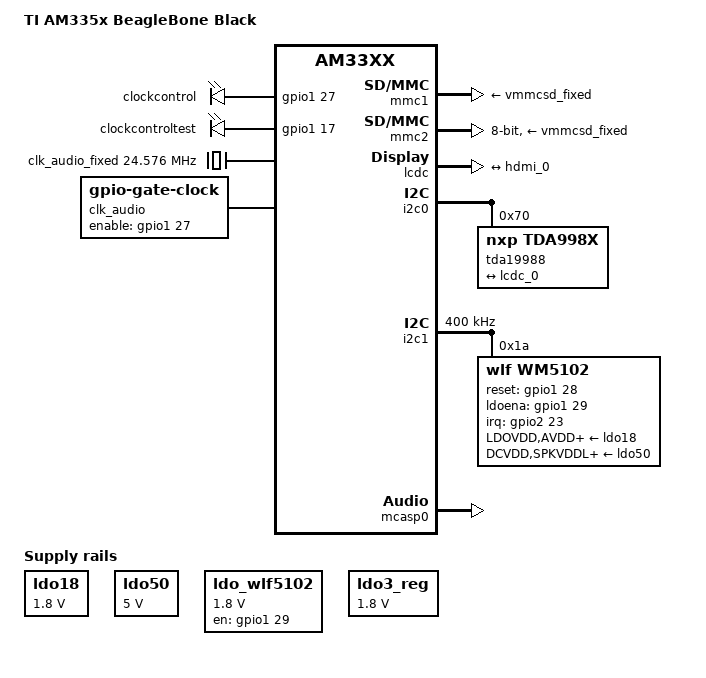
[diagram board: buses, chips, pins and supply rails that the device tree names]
/*
 * Copyright (C) 2012 Texas Instruments Incorporated - http://www.ti.com/
 *
 * This program is free software; you can redistribute it and/or modify
 * it under the terms of the GNU General Public License version 2 as
 * published by the Free Software Foundation.
 */
/dts-v1/;

#include "am33xx.dtsi"
#include "am335x-bone-common.dtsi"
#include "dt-bindings/mfd/arizona.h"

/ {
	model = "TI AM335x BeagleBone Black";
	compatible = "ti,am335x-bone-black", "ti,am335x-bone", "ti,am33xx";


leds {
pinctrl-names = "default";
pinctrl-0 = <&artfusion_gpio_pins_default>;
compatible = "gpio-leds";

led@1 {
        label = "clockcontrol";
  gpios = <&gpio1 27 GPIO_ACTIVE_HIGH>;
    default-state = "on";
      };


led@2 {
  label = "clockcontroltest";
  gpios = <&gpio1 17 GPIO_ACTIVE_HIGH>;
    default-state = "on";
      };
};


ldo18: ldo18 {
      compatible = "regulator-fixed";
      regulator-name = "DC_1V8";
      regulator-min-microvolt = <1800000>;
      regulator-max-microvolt = <1800000>;
      enable-active-high;
      regulator-always-on;
        };

ldo50: ldo50 { /* BBB VCC_5V */
      compatible = "regulator-fixed";
      regulator-name = "DC_5V0";
      regulator-min-microvolt = <5000000>;
      regulator-max-microvolt = <5000000>;
      enable-active-high;
      regulator-always-on;
        };


ldo_wlf5102: ldo_wlf5102 {
	compatible = "regulator-gpio";
	regulator-name = "LDO_WLF5102";
	regulator-min-microvolt = <1800000>;
	regulator-max-microvolt = <1800000>;
	enable-active-high;
	regulator-always-on;
	enable-gpio = <&gpio1 29 GPIO_ACTIVE_HIGH>;
        /*wlf,ldoena = <&gpio1 29 GPIO_ACTIVE_HIGH>; /* allow LDOENA wm5102 by driver */
};


clk_audio_fixed: clk_audio_fixed {
      #clock-cells = <0>;
      compatible = "fixed-clock";
      clock-frequency = <24576000>;
};


clk_audio: clk_audio {
      #clock-cells = <0>;
      compatible = "gpio-gate-clock";
      clocks = <&clk_audio_fixed>;
      enable-gpios = <&gpio1 27 0>; /* BeagleBone Black Clk enable on GPIO1_27 */
};


sound {
    status = "okay";
    compatible = "simple-audio-card";
    simple-audio-card,name = "WM5102";
    simple-audio-card,widgets =
        "Line", "Line In";
    simple-audio-card,routing =
				 "IN1L", "Line In",
				 "IN1R", "Line In",
				 "IN2L", "Line In",
				 "IN2R", "Line In",
				 "IN3L", "Line In",
				 "IN3R", "Line In";
    simple-audio-card,dai-link {
	format = "dsp_b";
	bitclock-master = <&sound_master>;
	frame-master = <&sound_master>;
	cpu {
		sound-dai = <&mcasp0>;
		/*
		dai-tdm-slot-num = <6>;
		dai-tdm-slot-width = <32>;
		*/
	};
	sound_master: codec {
		sound-dai = <&wm5102>;
		clocks = <&clk_audio>;
		/*
		dai-tdm-slot-num = <6>;
		dai-tdm-slot-width = <32>;
		*/
	};
    };

};





};

&ldo3_reg {
	regulator-min-microvolt = <1800000>;
	regulator-max-microvolt = <1800000>;
	regulator-always-on;
};

&mmc1 {
	vmmc-supply = <&vmmcsd_fixed>;
};

&mmc2 {
	vmmc-supply = <&vmmcsd_fixed>;
	pinctrl-names = "default";
	pinctrl-0 = <&emmc_pins>;
	bus-width = <8>;
	status = "okay";
};

&am33xx_pinmux {
	nxp_hdmi_bonelt_pins: nxp_hdmi_bonelt_pins {
		pinctrl-single,pins = <
			0x1b0 0x03      /* xdma_event_intr0, OMAP_MUX_MODE3 | AM33XX_PIN_OUTPUT */
			0xa0 0x08       /* lcd_data0.lcd_data0, OMAP_MUX_MODE0 | AM33XX_PIN_OUTPUT | AM33XX_PULL_DISA */
			0xa4 0x08       /* lcd_data1.lcd_data1, OMAP_MUX_MODE0 | AM33XX_PIN_OUTPUT | AM33XX_PULL_DISA */
			0xa8 0x08       /* lcd_data2.lcd_data2, OMAP_MUX_MODE0 | AM33XX_PIN_OUTPUT | AM33XX_PULL_DISA */
			0xac 0x08       /* lcd_data3.lcd_data3, OMAP_MUX_MODE0 | AM33XX_PIN_OUTPUT | AM33XX_PULL_DISA */
			0xb0 0x08       /* lcd_data4.lcd_data4, OMAP_MUX_MODE0 | AM33XX_PIN_OUTPUT | AM33XX_PULL_DISA */
			0xb4 0x08       /* lcd_data5.lcd_data5, OMAP_MUX_MODE0 | AM33XX_PIN_OUTPUT | AM33XX_PULL_DISA */
			0xb8 0x08       /* lcd_data6.lcd_data6, OMAP_MUX_MODE0 | AM33XX_PIN_OUTPUT | AM33XX_PULL_DISA */
			0xbc 0x08       /* lcd_data7.lcd_data7, OMAP_MUX_MODE0 | AM33XX_PIN_OUTPUT | AM33XX_PULL_DISA */
			0xc0 0x08       /* lcd_data8.lcd_data8, OMAP_MUX_MODE0 | AM33XX_PIN_OUTPUT | AM33XX_PULL_DISA */
			0xc4 0x08       /* lcd_data9.lcd_data9, OMAP_MUX_MODE0 | AM33XX_PIN_OUTPUT | AM33XX_PULL_DISA */
			0xc8 0x08       /* lcd_data10.lcd_data10, OMAP_MUX_MODE0 | AM33XX_PIN_OUTPUT | AM33XX_PULL_DISA */
			0xcc 0x08       /* lcd_data11.lcd_data11, OMAP_MUX_MODE0 | AM33XX_PIN_OUTPUT | AM33XX_PULL_DISA */
			0xd0 0x08       /* lcd_data12.lcd_data12, OMAP_MUX_MODE0 | AM33XX_PIN_OUTPUT | AM33XX_PULL_DISA */
			0xd4 0x08       /* lcd_data13.lcd_data13, OMAP_MUX_MODE0 | AM33XX_PIN_OUTPUT | AM33XX_PULL_DISA */
			0xd8 0x08       /* lcd_data14.lcd_data14, OMAP_MUX_MODE0 | AM33XX_PIN_OUTPUT | AM33XX_PULL_DISA */
			0xdc 0x08       /* lcd_data15.lcd_data15, OMAP_MUX_MODE0 | AM33XX_PIN_OUTPUT | AM33XX_PULL_DISA */
			0xe0 0x00       /* lcd_vsync.lcd_vsync, OMAP_MUX_MODE0 | AM33XX_PIN_OUTPUT */
			0xe4 0x00       /* lcd_hsync.lcd_hsync, OMAP_MUX_MODE0 | AM33XX_PIN_OUTPUT */
			0xe8 0x00       /* lcd_pclk.lcd_pclk, OMAP_MUX_MODE0 | AM33XX_PIN_OUTPUT */
			0xec 0x00       /* lcd_ac_bias_en.lcd_ac_bias_en, OMAP_MUX_MODE0 | AM33XX_PIN_OUTPUT */
		>;
	};
	nxp_hdmi_bonelt_off_pins: nxp_hdmi_bonelt_off_pins {
		pinctrl-single,pins = <
			0x1b0 0x03      /* xdma_event_intr0, OMAP_MUX_MODE3 | AM33XX_PIN_OUTPUT */
		>;
	};


artfusion_gpio_pins_default: artfusion_gpio_pins_default {
pinctrl-single,pins = <
0x164 ( PIN_INPUT | MUX_MODE7 ) /* (C18) eCAP0_in_PWM0_out.gpio0[7] */
0x44 ( PIN_OUTPUT | MUX_MODE7 ) /* (V14) gpmc_a1.gpio1[17] */
0x6c ( PIN_OUTPUT_PULLUP | MUX_MODE7 ) /* (V17) gpio1[27] 24.576MHz clock OE*/
0x1ac ( PIN_INPUT_PULLUP | MUX_MODE7 ) /* (A14) mcasp0_ahclkx.gpio3[21] */
0x7c ( PIN_OUTPUT_PULLUP | MUX_MODE7 ) /* (V6) gpmc_csn0.gpio1[29] WM5012-LDOEN */
>;
};


mcasp0_slave_pins_default: mcasp0_slave_pins_default {
pinctrl-single,pins = <
0x1a0 ( PIN_INPUT | MUX_MODE0 ) /* (B12) mcasp0_aclkr.mcasp0_aclkr */
0x1a4 ( PIN_INPUT | MUX_MODE0 ) /* (C13) mcasp0_fsr.mcasp0_fsr */
0x198 ( PIN_INPUT | MUX_MODE0 ) /* (D12) mcasp0_axr0.mcasp0_axr0 */
0x19c ( PIN_OUTPUT | MUX_MODE2 ) /* (C12) mcasp0_ahclkr.mcasp0_axr2 */
>;
};


wm5102_i2c_pins_default: wm5102_i2c_pins_default {
pinctrl-single,pins = <
0x15c ( PIN_INPUT | MUX_MODE2 ) /* (A16) spi0_cs0.I2C1_SCL */
0x158 ( PIN_INPUT | MUX_MODE2 ) /* (B16) spi0_d1.I2C1_SDA */
0x78 ( PIN_OUTPUT_PULLUP | MUX_MODE7 ) /* (U18) gpmc_be1n.gpio1[28] /RESET but we have an inveter */
>;
};



};

&lcdc {
	status = "okay";
	port {
		lcdc_0: endpoint@0 {
			remote-endpoint = <&hdmi_0>;
		};
	};
};

&i2c0 {
	tda19988 {
		compatible = "nxp,tda998x";
		reg = <0x70>;
		pinctrl-names = "default", "off";
		pinctrl-0 = <&nxp_hdmi_bonelt_pins>;
		pinctrl-1 = <&nxp_hdmi_bonelt_off_pins>;

		port {
			hdmi_0: endpoint@0 {
				remote-endpoint = <&lcdc_0>;
			};
		};
	};
};


&i2c1 {
      pinctrl-names = "default";
      pintctrl-0 = <&wm5102_i2c_pins_default>;
      status = "okay";
      clock-frequency = <400000>;


      wm5102: wm5102@1a {
      	      compatible = "wlf,wm5102";
	      reg = <0x1a>;
	      status = "okay";
	      /* /IRQ is connected to GPIO2_23. Mask from HiassofT DT for cirrus audio board */
	      interrupts = <23 8>;
	      interrupt-controller;
	      #interrupt-cells = <2>;
	      interrupt-parent = <&gpio2>;
	      gpio-controller;
	      #gpio-cells = <2>;
	      wlf,gpio-defaults = <
		ARIZONA_GP_FN_TXLRCLK
		ARIZONA_GP_DEFAULT
		ARIZONA_GP_DEFAULT
		ARIZONA_GP_DEFAULT
		ARIZONA_GP_DEFAULT
		>;
	      wlf,reset = <&gpio1 28 GPIO_ACTIVE_HIGH>; /* allow /RESET wm5102 by driver (via inverter)*/
              wlf,ldoena = <&gpio1 29 GPIO_ACTIVE_HIGH>; /* allow LDOENA wm5102 by driver */
	      LDOVDD-supply  = <&ldo18>; /* fixed 1V8 regulator */
	      AVDD-supply    = <&ldo18>;
	      DBVDD1-supply  = <&ldo18>;
	      DBVDD2-supply  = <&ldo18>;
	      DBVDD3-supply  = <&ldo18>;
	      CPVDD-supply   = <&ldo18>;
	      DCVDD-supply   = <&ldo50>;
	      SPKVDDL-supply = <&ldo50>; /* fixed VDD_5V from BBB */
	      SPKVDDR-supply = <&ldo50>;
              #sound-dai-cells = <0>;
      };

};


&mcasp0 {
        pinctrl-names = "default";
        pinctrl-0 = <&mcasp0_slave_pins_default>;

        status = "okay";

        op-mode = <0>;          /* MCASP_IIS_MODE */
	tdm-slots = <6>;
        /* 4 serializers */
        serial-dir = <  /* 0: INACTIVE, 1: TX, 2: RX - 0 2 0 0 */
                2 0 0 0
        >;
        tx-num-evt = <32>;
        rx-num-evt = <32>;
        #sound-dai-cells = <0>;
};


&rtc {
	system-power-controller;
};
